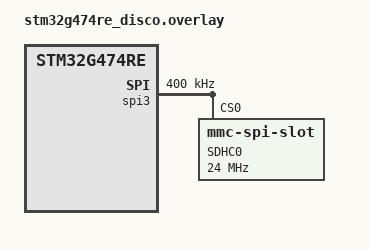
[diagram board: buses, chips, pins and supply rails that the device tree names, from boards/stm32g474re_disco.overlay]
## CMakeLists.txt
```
# SPDX-License-Identifier: Apache-2.0

cmake_minimum_required(VERSION 3.13.1)

set(PROJ_ROOT ${CMAKE_CURRENT_SOURCE_DIR}/)
set(DTS_ROOT ${CMAKE_CURRENT_SOURCE_DIR}/dts)
set(DTC_OVERLAY_FILE "boards/stm32g474re_disco.overlay")

set(BOARD_ROOT ${CMAKE_CURRENT_LIST_DIR})
set(BOARD stm32g474re_disco)

find_package(Zephyr REQUIRED HINTS $ENV{ZEPHYR_BASE})
project(sd_spi_rw)

FILE(GLOB app_sources src/*.c)
target_sources(app PRIVATE ${app_sources})
```

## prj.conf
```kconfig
CONFIG_DISK_ACCESS=y
CONFIG_LOG=y
CONFIG_FILE_SYSTEM=y
CONFIG_FAT_FILESYSTEM_ELM=y
CONFIG_PRINTK=y
CONFIG_MAIN_STACK_SIZE=2048

CONFIG_PRINTK=y
CONFIG_SHELL=y
CONFIG_LOG=y
CONFIG_INIT_STACKS=y
CONFIG_THREAD_STACK_INFO=y
CONFIG_KERNEL_SHELL=y
CONFIG_THREAD_MONITOR=y
CONFIG_BOOT_BANNER=n
CONFIG_THREAD_NAME=y
CONFIG_DEVICE_SHELL=y
CONFIG_POSIX_CLOCK=y
CONFIG_DATE_SHELL=y
```

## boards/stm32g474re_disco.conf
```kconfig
CONFIG_DISK_ACCESS_SDHC=y
CONFIG_DISK_ACCESS_SPI_SDHC=y
CONFIG_SPI=y
CONFIG_SPI_1=y

# Enable DMA
CONFIG_DMA=y

# Enable DMA support for STM32 SPI bus
CONFIG_DMA_STM32=y
CONFIG_SPI_STM32_DMA=y
```

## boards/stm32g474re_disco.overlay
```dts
/*
 * Copyright (c) 2020 Rohan Dey
 *
 * SPDX-License-Identifier: Apache-2.0
 */

&spi3 {
        status = "okay";
        /*cs-gpios = <&gpio0 17 GPIO_ACTIVE_HIGH>;*/
        clock-frequency = <400000>;

        sdhc0: sdhc@0 {
                compatible = "zephyr,mmc-spi-slot";
                reg = <0>;
                status = "okay";
                label = "SDHC0";
                spi-max-frequency = <24000000>;
        };
};
```

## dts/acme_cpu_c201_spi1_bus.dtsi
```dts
/*
 * Copyright (c) 2020 Rohan Dey
 *
 * SPDX-License-Identifier: Apache-2.0
 */

#include <dt-bindings/pinctrl/stm32-pinctrl.h>

&pinctrl {
  spi1_sck: gpioa_5 {
    /*pinmux = <STM32_PINMUX('A', 5, (STM32_PINMUX_ALT_FUNC_5 | STM32_PUSHPULL_NOPULL | STM32_OSPEEDR_VERY_HIGH_SPEED))>;*/
    pinmux = <STM32_PINMUX('A', 5, AF5)>;
  };

  spi1_mosi: gpiob_5 {
    /*pinmux = <STM32_PINMUX('B', 5, (STM32_PINMUX_ALT_FUNC_5 | STM32_PUSHPULL_NOPULL | STM32_OSPEEDR_VERY_HIGH_SPEED))>;*/
    pinmux = <STM32_PINMUX('B', 5, AF5)>;
  };

  spi1_miso: gpioa_6 {
    /*pinmux = <STM32_PINMUX('A', 6, (STM32_PINMUX_ALT_FUNC_5 | STM32_MODER_INPUT_MODE | STM32_PUPDR_PULL_UP))>;*/
    pinmux = <STM32_PINMUX('A', 6, AF5)>;
  };

  spi1_microsd_nss: gpioa_4 {
    /*pinmux = <STM32_PINMUX('A', 4, (STM32_PINMUX_FUNC_GPIO | STM32_PUSHPULL_PULLUP | STM32_OSPEEDR_VERY_HIGH_SPEED))>;*/
    pinmux = <STM32_PINMUX('A', 4, AF5)>;
  };
};

&spi1 {
    status = "okay";
    pinctrl-0 = <&spi1_sck &spi1_mosi &spi1_miso &spi1_microsd_nss>;

};
```

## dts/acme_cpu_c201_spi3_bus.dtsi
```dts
/*
	SPI3 bus connected to SD Card interface on C201 board
*/
&pinctrl {
  spi3_nss_pd2: spi3_nss_pd2 {
    pinmux = <STM32_PINMUX('D', 2, AF6)>;
    bias-pull-up;
  };
};

&spi3 {
    status = "okay";
    pinctrl-0 = <&spi3_sck_pb3 &spi3_mosi_pb5 &spi3_miso_pc11 &spi3_nss_pd2>;
	clock-frequency = <400000>;
	
	/* ref:
		rm0440 pg. 426,
		zephyr/tests/drivers/spi/spi_loopback/boards/nucleo_g474re.overlay
		st,stm32-qspi.yaml
	*/
	dmas = <&dmamux1 0 15 0x20440 0
			&dmamux1 8 14 0x20480 0>;
	dma-names = "tx", "rx";

	sdhc0: sdhc@0 {
        compatible = "zephyr,mmc-spi-slot";
        reg = <0>;
        status = "okay";
        label = "SDHC0";
        spi-max-frequency = <24000000>;
	};
};

&dma1 {
	status = "okay";
};

&dma2 {
	status = "okay";
};

&dmamux1 {
	status = "okay";
};
```

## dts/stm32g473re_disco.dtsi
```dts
/*
 * Copyright (c) 2020 Rohan Dey
 *
 * SPDX-License-Identifier: Apache-2.0
 */

#include <stm32g473re_disco_usart3.dtsi>
#include <stm32g473re_disco_timers20.dtsi>
/*#include <acme_cpu_c201_spi1_bus.dtsi>*/

#include <acme_cpu_c201_spi3_bus.dtsi>
/*#include <stm32g473re_disco_timers17.dtsi>*/
/*#include <stm32g473re_disco_leds.dtsi>*/
```

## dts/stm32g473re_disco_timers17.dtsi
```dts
/*
 * Copyright (c) 2020 Volodymyr Sirous
 *
 * SPDX-License-Identifier: Apache-2.0
 */
 
 #include <dt-bindings/pinctrl/stm32-pinctrl.h>

&pinctrl {

  tim17_ch1: gpiob_9 {
    pinmux = <STM32_PINMUX('B', 9, (STM32_PINMUX_ALT_FUNC_1 | STM32_PUSHPULL_PULLUP | STM32_OSPEEDR_HIGH_SPEED))>;
  };

};

&timers17 {
  status = "okay";
  pwm17: pwm {
    status = "okay";
    pinctrl-0 = <&tim17_ch1>;
    st,prescaler = <2>;
    #pwm-cells = <3>;
  };
};
```

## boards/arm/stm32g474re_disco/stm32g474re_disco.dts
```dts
/*
 * Copyright (c) 2019 STMicroelectronics.
 *
 * SPDX-License-Identifier: Apache-2.0
 */

/dts-v1/;
#include <st/g4/stm32g473Xe.dtsi>
#include <st/g4/stm32g474r(b-c-e)tx-pinctrl.dtsi>
#include <stm32g473re_disco.dtsi>

/ {
	model = "STMicroelectronics STM32G474RE-DISCOVERY board";
	compatible = "st,stm32g474re-disco";

	chosen {
		zephyr,console = &usart3;
		zephyr,shell-uart = &usart3;
		zephyr,sram = &sram0;
		zephyr,flash = &flash0;
	};
};

&flash0 {
	/*
	 * For more information, see:
	 * http://docs.zephyrproject.org/latest/guides/dts/index.html#flash-partitions
	 */
	partitions {
		compatible = "fixed-partitions";
		#address-cells = <1>;
		#size-cells = <1>;

		/* Set 2Kb of storage at the end of the 128Kb of flash */
		storage_partition: partition@1f800 {
			label = "storage";
			reg = <0x0001f800 0x00000800>;
		};
	};
};
```

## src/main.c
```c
/*
 * Copyright (c) 2019 Rohan Dey
 *
 * SPDX-License-Identifier: Apache-2.0
 */

#include <zephyr.h>
#include <device.h>
#include <sys/printk.h>
#include <shell/shell.h>
#include <version.h>
#include <logging/log.h>
#include <stdlib.h>
#include <disk/disk_access.h>
#include <fs/fs.h>
#include <ff.h>

LOG_MODULE_REGISTER(main);

static FATFS fat_fs;
/* mounting info */
static struct fs_mount_t mp = {
	.type = FS_FATFS,
	.fs_data = &fat_fs,
};
/*
*  Note the fatfs library is able to mount only strings inside _VOLUME_STRS
*  in ffconf.h
*/
static const char *sd_mount_pt = "/SD:";

static int mount_sd_card(const struct shell *shell, size_t argc, char **argv)
{
	ARG_UNUSED(argv);
//	shell_print(shell, "mount_sd_card\n");

	do {
		static const char *disk_pdrv = "SD";
		uint64_t memory_size_mb;
		uint32_t block_count;
		uint32_t block_size;

		if (disk_access_init(disk_pdrv) != 0) {
			LOG_ERR("Storage init ERROR!");
			break;
		}
		if (disk_access_ioctl(disk_pdrv,
				DISK_IOCTL_GET_SECTOR_COUNT, &block_count)) {
			LOG_ERR("Unable to get sector count");
			break;
		}
		LOG_INF("Block count %u", block_count);

		if (disk_access_ioctl(disk_pdrv,
				DISK_IOCTL_GET_SECTOR_SIZE, &block_size)) {
			LOG_ERR("Unable to get sector size");
			break;
		}
		LOG_INF("Sector size %u\n", block_size);

		memory_size_mb = (uint64_t)block_count * block_size;
		LOG_INF("Memory Size(MB) %u\n", (uint32_t)(memory_size_mb >> 20));
	} while (0);

	mp.mnt_point = sd_mount_pt;
	int res = fs_mount(&mp);
	if (res == FR_OK) {
		LOG_INF("Disk mounted, mount point = %s\n", sd_mount_pt);
	} else {
		LOG_ERR("Error mounting disk.\n");
	}

	return res;
}

static int unmount_sd_card(const struct shell *shell, size_t argc, char **argv)
{
	ARG_UNUSED(argv);
	shell_print(shell, "unmount_sd_card\n");

	int res = fs_unmount(&mp);
	if (res == FR_OK) {
		LOG_INF("Disk unmounted\n");
	} else if (res == -EINVAL) {
		LOG_ERR("no system has been mounted at given mount point\n");
	} else {
		LOG_ERR("Error mounting disk.\n");
	}

	return 0;
}

static int lsdir(const char *path)
{
	int res;
	struct fs_dir_t dirp;
	static struct fs_dirent entry;

	/* Verify fs_opendir() */
	res = fs_opendir(&dirp, path);
	if (res) {
		printk("Error opening dir %s [%d]\n", path, res);
		return res;
	}

	printk("\nListing dir %s ...\n", path);
	for (;;) {
		/* Verify fs_readdir() */
		res = fs_readdir(&dirp, &entry);

		/* entry.name[0] == 0 means end-of-dir */
		if (res || entry.name[0] == 0) {
			break;
		}

		if (entry.type == FS_DIR_ENTRY_DIR) {
			printk("[DIR ] %s\n", entry.name);
		} else {
			printk("[FILE] %s (size = %zu)\n",
				entry.name, entry.size);
		}
	}

	/* Verify fs_closedir() */
	fs_closedir(&dirp);

	return res;
}

static int list_files(const struct shell *shell, size_t argc, char **argv)
{
	shell_print(shell, "list_files: argc=%d, argv[1] = %s\n", argc, argv[1]);

	lsdir(argv[1]);

	return 0;
}

static int cat_file(const struct shell *shell, size_t argc, char **argv)
{
//	ARG_UNUSED(argv);
	shell_print(shell, "cat_file: argc=%d, argv[1]=%s, argv[2]=%s\n", argc, argv[1], argv[2]);

	struct fs_file_t zfp;
	memset(&zfp, 0x00, sizeof(struct fs_file_t));

	/* Open the file */
	int res = fs_open(&zfp, argv[1], (FS_O_CREATE | FS_O_READ | FS_O_WRITE));
	if (res == 0) {
		LOG_INF("file created");
	} else if (res == -EINVAL) {
		LOG_ERR("bad file name");
	} else if (res == -EROFS) {
		LOG_ERR("read only file / file system");
	} else if (res == -ENOENT) {
		LOG_ERR("file path not possible");
	} else {
		LOG_ERR("failed to create file");
	}

	if (res < 0) {
		return res;
	}

	/* Do write operations here */
	int datalen = strlen(argv[2]);
	size_t wrbytes = fs_write(&zfp, argv[2], datalen);
	if (wrbytes == datalen) {
		LOG_INF("%d bytes written to file", wrbytes);
	} else if (wrbytes>0 && wrbytes<datalen) {
		LOG_INF("less bytes written, %d bytes", wrbytes);
	} else if(wrbytes == -ENOTSUP) {
		LOG_ERR("not implemented by underlying file system driver");
		res = -ENOTSUP;
	} else if(wrbytes < 0) {
		LOG_ERR("could not write to file");
		res = -1;
	}

	if (res < 0) {
		return res;
	}

	/* Close the file */
	res = fs_close(&zfp);
	if (res == 0) {
		LOG_INF("file closed");
	} else {
		LOG_ERR("could not close file");
	}

	return res;
}

static int read_file(const struct shell *shell, size_t argc, char **argv)
{
//	ARG_UNUSED(argv);
	shell_print(shell, "read_file: argc=%d, argv[1]=%s\n", argc, argv[1]);

	struct fs_file_t zfp;

	/* Open the file */
	int res = fs_open(&zfp, argv[1], (FS_O_CREATE | FS_O_READ));
	if (res == 0) {
		LOG_INF("file opened");
	} else if (res == -EINVAL) {
		LOG_ERR("bad file name");
	} else if (res == -EROFS) {
		LOG_ERR("read only file / file system");
	} else if (res == -ENOENT) {
		LOG_ERR("file path not possible");
	} else {
		LOG_ERR("failed to open file");
	}

	/* Do read operations here */
	char rdbuf = '\0';
	size_t rdbytes=0, totbytes=0;

	LOG_INF("Data read = ");
	do {
		rdbytes = fs_read(&zfp, &rdbuf, 1);
		printk("%c", rdbuf);
		totbytes++;
	} while (rdbytes > 0);
	LOG_INF("%d bytes read", totbytes);

	/* Close the file */
	res = fs_close(&zfp);
	if (res == 0) {
		LOG_INF("file closed");
	} else {
		LOG_ERR("could not close file");
	}

	return 0;
}

static int make_dir(const struct shell *shell, size_t argc, char **argv)
{
//	ARG_UNUSED(argv);
	shell_print(shell, "cat_file: argc=%d, argv[1]=%s\n", argc, argv[1]);

	int res = fs_mkdir(argv[1]);
	if (res == 0) {
		LOG_INF("directory created\n");
	} else if (res == -ENOTSUP) {
		LOG_ERR("not implemented by underlying file system driver\n");
	} else {
		LOG_ERR("could not create directory\n");
	}

	return 0;
}

static int delete_file(const struct shell *shell, size_t argc, char **argv)
{
//	ARG_UNUSED(argv);
	shell_print(shell, "cat_file: argc=%d, argv[1]=%s\n", argc, argv[1]);

	int res = fs_unlink(argv[1]);
	if (res == 0) {
		LOG_INF("delete successful\n");
	} else if (res == -EROFS) {
		LOG_ERR("file system is readonly\n");
	} else if (res == -ENOTSUP) {
		LOG_ERR("not implemented by underlying file system driver\n");
	} else {
		LOG_ERR("could not delete\n");
	}

	return 0;
}

SHELL_STATIC_SUBCMD_SET_CREATE(open_card,
		SHELL_CMD(mount, NULL, "mount sd card", mount_sd_card),
		SHELL_CMD(unmount, NULL, "unmount sd card", unmount_sd_card),
		SHELL_CMD_ARG(list, NULL, "list files", list_files, 2, 0),
		SHELL_CMD_ARG(mkdir, NULL, "create a directory", make_dir, 2, 0),
		SHELL_CMD_ARG(del, NULL, "deletes a directory or file", delete_file, 2, 0),
		SHELL_CMD_ARG(cat, NULL, "create a file and write data to it", cat_file, 2, 1),
		SHELL_CMD_ARG(rdfile, NULL, "read a file", read_file, 2, 0),
		SHELL_SUBCMD_SET_END /* Array terminated. */
);

SHELL_CMD_REGISTER(sd, &open_card, "Start the application", NULL);

void main(void)
{
	LOG_INF("Starting application ...");

#if 1	// may disable this if using shell commands
	char *argv[3] = {	"abc",
						"/SD:/hello",
						"hello! how are you."
					};

	int ret = mount_sd_card(NULL, 0 , NULL);
	if (ret == 0) {
		LOG_INF("SD card mounted successfully\n");
		k_sleep(K_MSEC(1000));
		cat_file(NULL, 3, argv);
	} else {
		LOG_ERR("SD card mount failed\n");
	}
#endif


	while (1) {
		k_sleep(K_MSEC(1000));
	}
}
```
